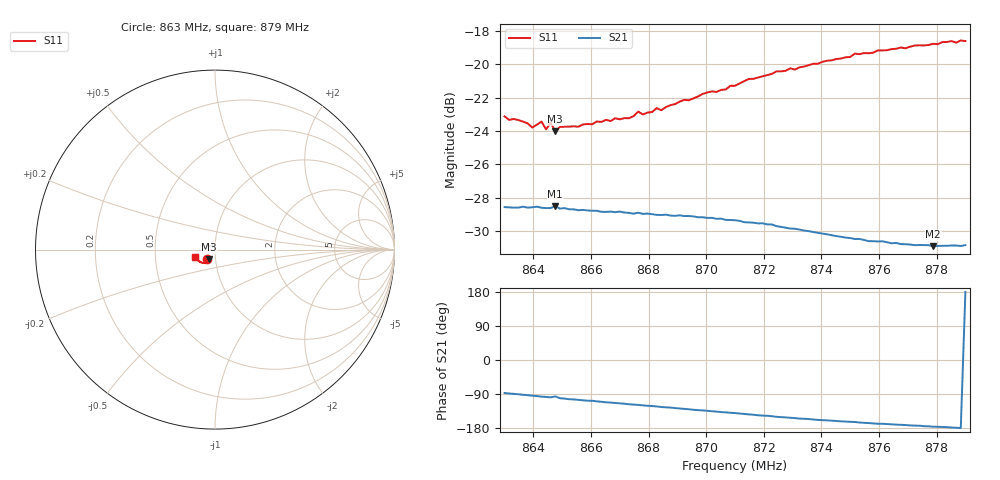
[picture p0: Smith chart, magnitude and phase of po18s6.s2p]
# HZ S RI R 50
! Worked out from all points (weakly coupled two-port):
!   101 points, 863 MHz to 879 MHz, reference 50 ohm
!   highest |S21| = -28.50 dB at 864.76 MHz (marker M1); lowest = -30.9 dB at 877.88 MHz (marker M2)
!   lowest |S11| = -24.0 dB at 864.76 MHz (marker M3), VSWR 1.13, Z = 46.6 - j5.03 ohm
!   |S11| at or under -10 dB: start of sweep to end of sweep
!   S12 and S22 are empty: the file has one direction only
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8.63e8  -0.0452 -0.0531  0.00196 -0.0373  0 0  0 0
8.638e8  -0.0419 -0.0517  -0.0018 -0.0371  0 0  0 0
8.6396e8  -0.0396 -0.051  -0.00268 -0.0372  0 0  0 0
8.6428e8  -0.0398 -0.0543  -0.00433 -0.0369  0 0  0 0
8.6444e8  -0.0378 -0.0514  -0.0048 -0.0367  0 0  0 0
8.646e8  -0.0384 -0.0546  -0.00552 -0.0367  0 0  0 0
8.6476e8  -0.0327 -0.0537  -0.00396 -0.0374  0 0  0 0
8.6492e8  -0.0367 -0.0535  -0.00695 -0.0363  0 0  0 0
8.6572e8  -0.0344 -0.0563  -0.0103 -0.0351  0 0  0 0
8.6732e8  -0.0337 -0.0601  -0.0162 -0.032  0 0  0 0
8.6764e8  -0.0358 -0.0626  -0.0172 -0.0315  0 0  0 0
8.678e8  -0.0343 -0.0618  -0.0176 -0.0309  0 0  0 0
8.6828e8  -0.0346 -0.0652  -0.019 -0.0298  0 0  0 0
8.6844e8  -0.0357 -0.0634  -0.0198 -0.0293  0 0  0 0
8.6924e8  -0.0391 -0.0677  -0.0221 -0.0272  0 0  0 0
8.71e8  -0.0469 -0.0724  -0.0261 -0.0219  0 0  0 0
8.7148e8  -0.0502 -0.0751  -0.027 -0.02  0 0  0 0
8.7372e8  -0.067 -0.0746  -0.0289 -0.0123  0 0  0 0
8.7516e8  -0.0814 -0.0704  -0.0287 -0.00846  0 0  0 0
8.7644e8  -0.0916 -0.0626  -0.0286 -0.00513  0 0  0 0
8.7788e8  -0.1032 -0.0511  -0.0284 -0.00203  0 0  0 0
8.79e8  -0.1103 -0.04  -0.0287 0.000174  0 0  0 0
